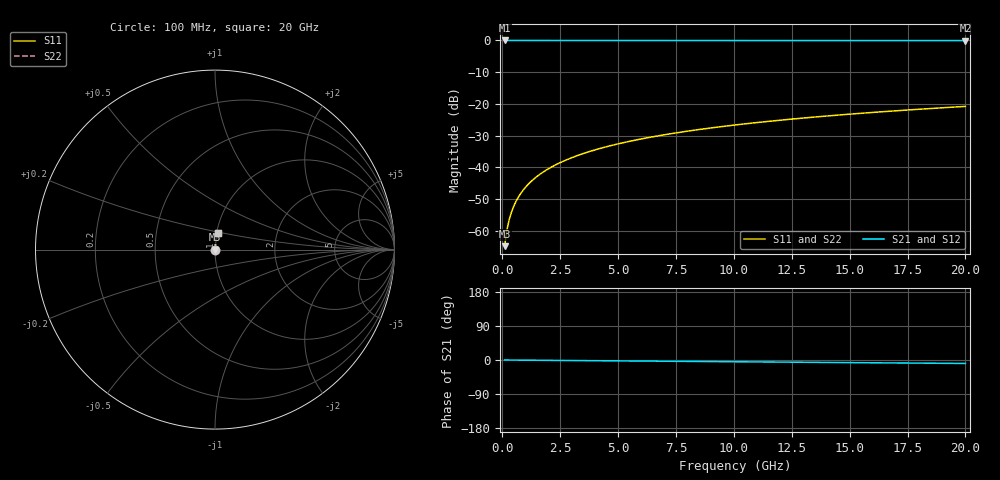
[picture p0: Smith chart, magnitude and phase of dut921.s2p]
! Touchstone file exported from HFSS 2026.1.0
!  File:  C:/ffzhzh/LocalFiles/Ansys_Project_Files/temp_train_TSV_921_1783186609_18472.aedt
!  Generated:  01:38:52 AM Jul  5, 2026
!  Design:  TSV
!  Project:  temp_train_TSV_921_1783186609_18472
! Variables:
!  h_bsmrdl = 2um
!  h_ox = 20um
!  h_rdl = 5um
!  h_sub = 67.06um
!  h_tmrdl = 5um
!  h_tsv = 67.06um
!  h_via = 3um
!  l_bsmrdl = 300um
!  l_sub = 410.94um
!  l_tmrdl = 200um
!  m_sub = 200um
!  pitch = 58.03um
!  r_tsv = 5.47um
!  s_tmrdl = 10um
!  w_bsmrdl = 18um
!  w_sub = 500um
!  w_tmrdl = 12um
!  x_tsv_center1 = 206um
!  x_tsv_center2 = 524um
!  x_tsv_center3 = 736um
!  x_tsv_center4 = 1054um
!  x_tsv_center5 = 1266um
!  x_tsv_center6 = 1584um
# GHz S MA R 50.000000
! Terminal data exported
! Port[1] = TSV1_1_T1
! Port[2] = TSV1_1_T2
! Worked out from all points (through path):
!   200 points, 100 MHz to 20 GHz, reference 50 ohm
!   highest |S21| = 0.00 dB at 100 MHz (marker M1); lowest = -0.1 dB at 20 GHz (marker M2)
!   group delay of S21, straight-line fit = 1.27 ps
!   lowest |S11| = -64.8 dB at 100 MHz (marker M3), VSWR 1.00, Z = 50 + j0.0497 ohm
!   |S11| at or under -10 dB: start of sweep to end of sweep
!   |S22| runs from -64.8 to -20.8 dB; largest |S21 - S12| = 2.3e-15
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0.1  0.0005749 59.7  0.9997 -0.0  0.9997 -0.0  0.0005749 59.7
! Gamma 0 0 0 0
! Port Impedance 50 0 50 0
0.2  0.001035 73.2  0.9997 -0.1  0.9997 -0.1  0.001035 73.2
0.3  0.001515 78.1  0.9997 -0.1  0.9997 -0.1  0.001515 78.1
0.4  0.001998 80.5  0.9997 -0.2  0.9997 -0.2  0.001998 80.5
0.5  0.002479 81.9  0.9997 -0.2  0.9997 -0.2  0.002479 81.9
0.6  0.002958 82.8  0.9996 -0.3  0.9996 -0.3  0.002958 82.8
0.7  0.003435 83.4  0.9996 -0.3  0.9996 -0.3  0.003435 83.4
0.8  0.00391 83.9  0.9996 -0.4  0.9996 -0.4  0.00391 83.9
1  0.004856 84.6  0.9996 -0.5  0.9996 -0.5  0.004856 84.6
1.4  0.006741 85.4  0.9995 -0.7  0.9995 -0.7  0.006741 85.4
1.7  0.008151 85.7  0.9995 -0.8  0.9995 -0.8  0.008151 85.7
2  0.009559 85.9  0.9994 -0.9  0.9994 -0.9  0.009559 85.9
2.7  0.01284 86.1  0.9993 -1.3  0.9993 -1.3  0.01284 86.1
3.5  0.01656 86.0  0.9992 -1.6  0.9992 -1.6  0.01656 86.0
4.2  0.01981 85.8  0.999 -2.0  0.999 -2.0  0.01981 85.8
5  0.0235 85.6  0.9989 -2.3  0.9989 -2.3  0.0235 85.6
6.8  0.03177 85.1  0.9985 -3.1  0.9985 -3.1  0.03177 85.1
8.3  0.03862 84.5  0.9982 -3.8  0.9982 -3.8  0.03862 84.5
10.1  0.04683 83.9  0.9977 -4.7  0.9977 -4.7  0.04683 83.9
13.4  0.0618 82.6  0.9967 -6.2  0.9967 -6.2  0.0618 82.6
16.7  0.07667 81.2  0.9955 -7.7  0.9955 -7.7  0.07667 81.2
20  0.09141 79.8  0.9941 -9.1  0.9941 -9.1  0.09141 79.8
